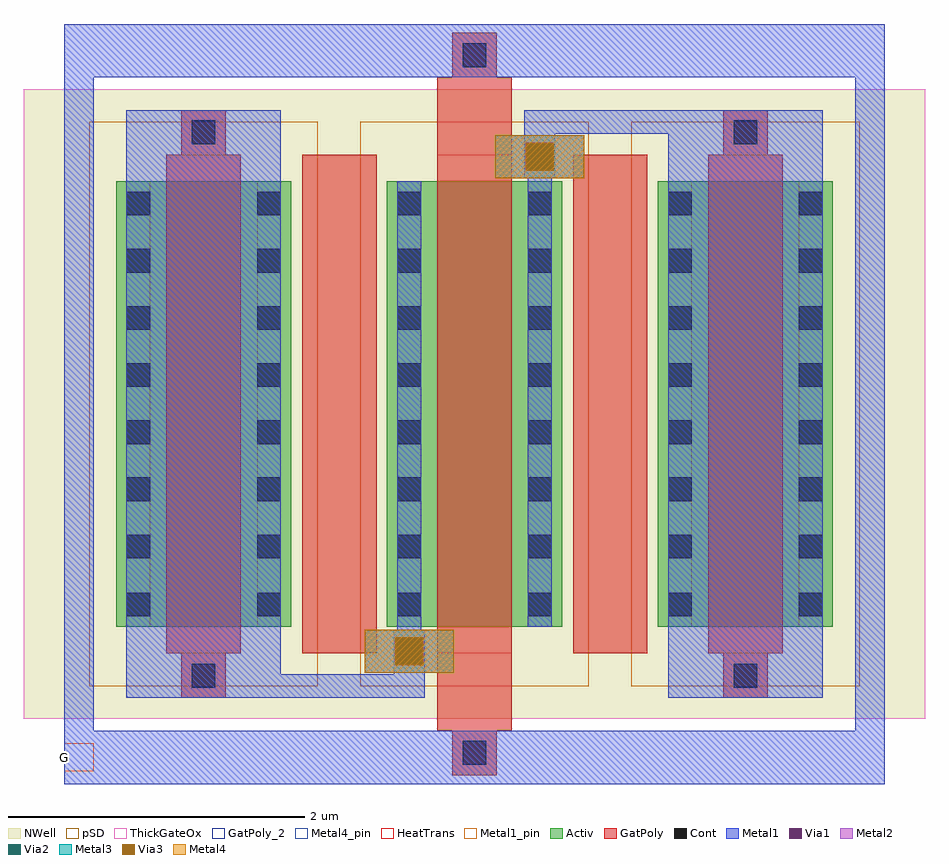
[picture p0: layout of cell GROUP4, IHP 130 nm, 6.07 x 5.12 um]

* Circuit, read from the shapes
.subckt GROUP4 G
XM1 pmosHV_priv4_1/S pmosHV_priv4_1/S pmosHV_priv4_1/S n1 sg13_hv_pmos w=3u l=0.5u
XM2 pmosHV_priv4_1/D G pmosHV_priv4_1/S n1 sg13_hv_pmos w=3u l=0.5u
XM3 pmosHV_priv4_1/D pmosHV_priv4_1/D pmosHV_priv4_1/D n1 sg13_hv_pmos w=3u l=0.5u
.ends

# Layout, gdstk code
from math import pi, radians
import gdstk
lib = gdstk.Library(unit=1e-6, precision=1e-09)
def R(c, l, rs):  # rectangles x0, y0, x1, y1
    for r in rs: c.add(gdstk.rectangle(r[:2], r[2:], *l))
def A(c, l, x, y, w, h, nx, ny, dx, dy):  # array of equal rectangles
    R(c, l, [(x+i*dx, y+j*dy, x+i*dx+w, y+j*dy+h) for i in range(nx) for j in range(ny)])
Activ = (1, 0)
GatPoly = (5, 0)
GatPoly_2 = (5, 2)
Cont = (6, 0)
Metal1 = (8, 0)
Metal1_pin = (8, 2)
Metal2 = (10, 0)
pSD = (14, 0)
Via1 = (19, 0)
Via2 = (29, 0)
Metal3 = (30, 0)
NWell = (31, 0)
ThickGateOx = (44, 0)
Via3 = (49, 0)
Metal4 = (50, 0)
Metal4_pin = (50, 2)
HeatTrans = (51, 0)

pmoshv_priv1 = lib.new_cell('pmosHV_priv1')
R(pmoshv_priv1, Activ, [(0,0,0.3,0.3), (0,0,1.18,3), (0.88,0,1.18,0.3)])
R(pmoshv_priv1, GatPoly, [(0.44,-0.48,0.74,-0.18), (0.34,-0.18,0.84,3.18), (0.44,3.18,0.74,3.48)])
R(pmoshv_priv1, GatPoly_2, [(0.34,-0.18,0.84,3.18)])
A(pmoshv_priv1, Cont, 0.07, 0.07, 0.16, 0.16, 1, 7, 0, 0.385)
A(pmoshv_priv1, Cont, 0.95, 0.07, 0.16, 0.16, 1, 7, 0, 0.385)
R(pmoshv_priv1, Cont, [(0.51,-0.41,0.67,-0.25), (0.07,2.77,0.23,2.93), (0.95,2.77,1.11,2.93), (0.51,3.25,0.67,3.41)])
R(pmoshv_priv1, Metal1, [(0.07,-0.48,1.11,3.48), (0.07,0,0.23,3), (0.95,0,1.11,3)])
R(pmoshv_priv1, Metal1_pin, [(0.07,0,0.23,3), (0.95,0,1.11,3)])
R(pmoshv_priv1, pSD, [(-0.18,-0.4,1.36,3.4)])
R(pmoshv_priv1, NWell, [(-0.62,-0.62,1.8,3.62)])
R(pmoshv_priv1, ThickGateOx, [(-0.62,-0.62,1.8,3.62)])
R(pmoshv_priv1, HeatTrans, [(0.34,-0.18,0.84,3.18)])
pmoshv_priv1.add(gdstk.Label('pmosHV', (0.59,1.5), layer=63, texttype=0))
pmoshv_priv1.add(gdstk.Label('pmos', (0.59,1.5), layer=51, texttype=0))

pmoshv_priv4 = lib.new_cell('pmosHV_priv4')
R(pmoshv_priv4, Activ, [(0,0,0.3,0.3), (0,0,1.18,3), (0.88,0,1.18,0.3)])
R(pmoshv_priv4, GatPoly, [(0.44,-1,0.74,-0.7), (0.34,-0.7,0.84,-0.18), (0.34,-0.18,0.84,3.18), (0.34,3.18,0.84,3.7), (0.44,3.7,0.74,4)])
R(pmoshv_priv4, GatPoly_2, [(0.34,-0.18,0.84,3.18)])
A(pmoshv_priv4, Cont, 0.07, 0.07, 0.16, 0.16, 1, 7, 0, 0.385)
A(pmoshv_priv4, Cont, 0.95, 0.07, 0.16, 0.16, 1, 7, 0, 0.385)
R(pmoshv_priv4, Cont, [(0.51,-0.93,0.67,-0.77), (0.07,2.77,0.23,2.93), (0.95,2.77,1.11,2.93), (0.51,3.77,0.67,3.93)])
R(pmoshv_priv4, Metal1, [(0.455,-1.06,0.725,-0.7), (0.045,-0.31,0.255,-0.02), (0.07,-0.035,0.23,0.015), (0.07,0,0.23,3), (0.95,0,1.11,3), (0.95,2.985,1.11,3.035), (0.925,3.02,1.135,3.31), (0.455,3.7,0.725,4.06)])
R(pmoshv_priv4, Metal1_pin, [(0.07,0,0.23,3), (0.95,0,1.11,3)])
R(pmoshv_priv4, Metal2, [(-0.15,-0.31,0.45,-0.02), (0.05,-0.31,0.25,-0.02), (0.73,3.02,1.33,3.31), (0.93,3.02,1.13,3.31)])
R(pmoshv_priv4, pSD, [(-0.18,-0.4,1.36,3.4)])
R(pmoshv_priv4, Via1, [(0.055,-0.26,0.245,-0.07), (0.935,3.07,1.125,3.26)])
R(pmoshv_priv4, Via2, [(0.055,-0.26,0.245,-0.07), (0.935,3.07,1.125,3.26)])
R(pmoshv_priv4, Metal3, [(-0.15,-0.31,0.45,-0.02), (0.05,-0.31,0.25,-0.02), (0.73,3.02,1.33,3.31), (0.93,3.02,1.13,3.31)])
R(pmoshv_priv4, NWell, [(-0.62,-0.62,1.8,3.62)])
R(pmoshv_priv4, ThickGateOx, [(-0.62,-0.62,1.8,3.62)])
R(pmoshv_priv4, Via3, [(0.055,-0.26,0.245,-0.07), (0.935,3.07,1.125,3.26)])
R(pmoshv_priv4, Metal4, [(-0.15,-0.31,0.45,-0.02), (0.05,-0.31,0.25,-0.02), (0.73,3.02,1.33,3.31), (0.93,3.02,1.13,3.31)])
R(pmoshv_priv4, Metal4_pin, [(0.055,-0.26,0.245,-0.07), (0.935,3.07,1.125,3.26)])
R(pmoshv_priv4, HeatTrans, [(0.34,-0.18,0.84,3.18)])
pmoshv_priv4.add(gdstk.Label('pmosHV', (0.59,1.5), layer=63, texttype=0))
pmoshv_priv4.add(gdstk.Label('pmos', (0.59,1.5), layer=51, texttype=0))
pmoshv_priv4.add(gdstk.Label('S', (1.03,3.165), layer=50, texttype=0))
pmoshv_priv4.add(gdstk.Label('D', (0.15,-0.165), layer=50, texttype=0))

pmoshv_priv5 = lib.new_cell('pmosHV_priv5')
R(pmoshv_priv5, Activ, [(0,0,0.3,0.3), (0,0,1.18,3), (0.88,0,1.18,0.3)])
R(pmoshv_priv5, GatPoly, [(0.44,-0.48,0.74,-0.18), (0.34,-0.18,0.84,3.18), (0.44,3.18,0.74,3.48)])
R(pmoshv_priv5, GatPoly_2, [(0.34,-0.18,0.84,3.18)])
A(pmoshv_priv5, Cont, 0.07, 0.07, 0.16, 0.16, 1, 7, 0, 0.385)
A(pmoshv_priv5, Cont, 0.95, 0.07, 0.16, 0.16, 1, 7, 0, 0.385)
R(pmoshv_priv5, Cont, [(0.51,-0.41,0.67,-0.25), (0.07,2.77,0.23,2.93), (0.95,2.77,1.11,2.93), (0.51,3.25,0.67,3.41)])
R(pmoshv_priv5, Metal1, [(0.07,-0.48,1.11,3.48), (0.07,0,0.23,3), (0.95,0,1.11,3)])
R(pmoshv_priv5, Metal1_pin, [(0.07,0,0.23,3), (0.95,0,1.11,3)])
R(pmoshv_priv5, pSD, [(-0.18,-0.4,1.36,3.4)])
R(pmoshv_priv5, NWell, [(-0.62,-0.62,1.8,3.62)])
R(pmoshv_priv5, ThickGateOx, [(-0.62,-0.62,1.8,3.62)])
R(pmoshv_priv5, HeatTrans, [(0.34,-0.18,0.84,3.18)])
pmoshv_priv5.add(gdstk.Label('pmosHV', (0.59,1.5), layer=63, texttype=0))
pmoshv_priv5.add(gdstk.Label('pmos', (0.59,1.5), layer=51, texttype=0))

group4 = lib.new_cell('GROUP4')
R(group4, GatPoly, [(22.925,5.565,23.425,8.925), (24.75,5.565,25.25,8.925)])
R(group4, Metal1, [(21.32,4.685,26.85,5.045), (21.32,4.685,21.52,9.805), (26.65,4.685,26.85,9.805), (22.78,5.265,23.75,5.425), (23.54,5.425,23.75,5.725), (24.42,8.765,24.63,9.065), (24.42,9.065,25.39,9.225), (21.32,9.445,26.85,9.805)])
R(group4, Metal1_pin, [(21.32,4.77,21.52,4.96)])
group4.add(gdstk.Reference(pmoshv_priv1, (26.5,8.745), rotation=pi))
group4.add(gdstk.Reference(pmoshv_priv4, (24.675,8.745), rotation=pi))
group4.add(gdstk.Reference(pmoshv_priv5, (22.85,8.745), rotation=pi))
group4.add(gdstk.Label('G', (21.32,4.865), layer=8, texttype=0))
group4.add(gdstk.Label('?', (23.485,10.105), layer=1000, texttype=0))
group4.add(gdstk.Label('?', (24.085,10.105), layer=1000, texttype=0))
group4.add(gdstk.Label('?', (24.685,10.105), layer=1000, texttype=0))

lib.write_gds('GROUP4.gds')
